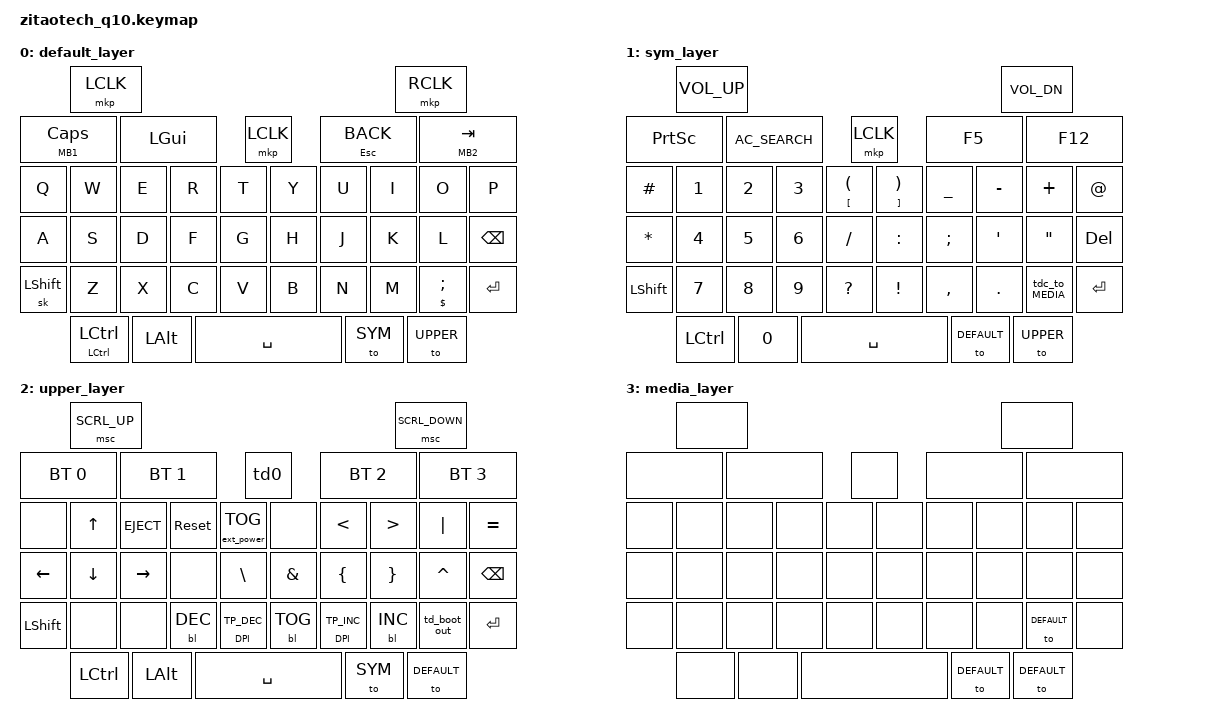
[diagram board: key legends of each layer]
/*
 * Copyright (c) 2023 ZitaoTech
 *
 * SPDX-License-Identifier: MIT
 */
   
#include <behaviors.dtsi>
#include <dt-bindings/zmk/keys.h>
#include <dt-bindings/zmk/bt.h>
#include <dt-bindings/zmk/outputs.h>
#include <dt-bindings/zmk/mouse.h>
#include <dt-bindings/zmk/backlight.h>
#include <dt-bindings/zmk/ext_power.h>
#include <dt-bindings/zmk/rgb.h>
#include <behaviors/trackpad_dpi.dtsi>


#include <zephyr/dt-bindings/input/input-event-codes.h>
#include <dt-bindings/zmk/keys.h>

#define DEFAULT 0
#define SYM 1
#define UPPER 2
#define MEDIA 3

#define TP_INC 0
#define TP_DEC 1

#define SL_TO(layer) &sl_to layer layer //tap -> sticky layer, double tap -> to layer

&sl {
    release-after-ms = <3000>;
    };


/ {
    behaviors {
        td0: tap_dance_0 {
            compatible = "zmk,behavior-tap-dance";
            #binding-cells = <0>;
            tapping-term-ms = <400>;
            bindings = <&mkp LCLK>, <&bt BT_CLR>;
        };
    };
    behaviors {
        td_boot_out: td_boot_out {
            compatible = "zmk,behavior-tap-dance";
            #binding-cells = <0>;
            tapping-term-ms = <400>;           
            bindings = <&bootloader>, <&out OUT_TOG>;
        };
    };
    behaviors {
        tdc_to_SYM: td_comma_to_layer {
            compatible = "zmk,behavior-tap-dance";
            #binding-cells = <0>;
            tapping-term-ms = <400>;
            bindings = <&mt DLLR SEMI>, <&to SYM>;
        };
    };
    behaviors {
        tdc_to_MEDIA: td_mute_to_layer {
            compatible = "zmk,behavior-tap-dance";
            #binding-cells = <0>;
            tapping-term-ms = <400>;
            bindings = <&kp C_MUTE>, <&to MEDIA>;
        };
    };
    behaviors {
        td1: tap_stickylayer_doubletap_tolayer_1 {
            compatible = "zmk,behavior-tap-dance";
            #binding-cells = <0>;
            tapping-term-ms = <400>;
            bindings = <&sl 1>, <&to 1>;
        };
    };
    behaviors {
        td2: tap_stickylayer_doubletap_tolayer_2 {
            compatible = "zmk,behavior-tap-dance";
            #binding-cells = <0>;
            tapping-term-ms = <400>;
            bindings = <&sl 2>, <&to 2>;
        };
    };

    behaviors {
         M_kp: behavior_mouse_keypress {
           compatible = "zmk,behavior-hold-tap";
           #binding-cells = <2>;
           flavor = "tap-preferred";     /* 单击优先 */
           tapping-term-ms = <500>;       /* 长按阈值 */
           bindings = <&mkp &kp>;        /* hold=mou key press, tap=key*/
        };
    };

    behaviors {
    sk_kp: behavior_sk_kp {
        compatible = "zmk,behavior-hold-tap";
        #binding-cells = <2>;
        flavor = "hold-preferred";      
        tapping-term-ms = <400>;       
        bindings = <&kp &sk>;          /* hold=kp, tap=sticky key */
        };
    };
    behaviors {
        hm: homerow_mods {
            compatible = "zmk,behavior-hold-tap";
            #binding-cells = <2>;
            tapping-term-ms = <500>;
            bindings = <&out &kp>;
        };
    };

    behaviors {
        bhm: balanced_homerow_mods {
            compatible = "zmk,behavior-hold-tap";
            #binding-cells = <2>;
            flavor = "balanced";
            tapping-term-ms = <400>;
            bindings = <&kp>, <&kp>;
        };
    };
    
    keymap {
        compatible = "zmk,keymap";

        default_layer {

            bindings = <
//         --------------------------------------------------------------------------------------------------------------------------         
//         |    Shoulder Key1    |                                                                             |    Shoulder Key2    |     
// |         Call key      |      Blackberry Key        |    Trackpad    |             Back Key                |             Endcall Key          |
// |     Q      |     W    |     E    |     R    |      T      |       Y        |       U        |        I        |       O      |      P        |     
// |     A      |     S    |     D    |     F    |      G      |       H        |       J        |        K        |       L      |      ←        |  
// |     alt    |     Z    |     X    |     C    |      V      |       B        |       N        |        M        |       $      |    Enter      |   
//        |         aA     |         0           |           SPACE              |         SYM         |        aA          |       
//        -----------------------------------------------------------------------------------------------------------------

                 &mkp LCLK                                                                                          &mkp RCLK
    &M_kp MB1 CLCK                &kp LGUI                            &mkp LCLK                          &mt ESC K_BACK                    &M_kp MB2 TAB
    &kp Q              &kp W      &kp E       &kp R     &kp T         &kp Y             &kp U            &kp I            &kp O            &kp P
    &kp A              &kp S      &kp D       &kp F     &kp G         &kp H             &kp J            &kp K            &kp L            &kp BSPC
    &sk LSHFT          &kp Z      &kp X       &kp C     &kp V         &kp B             &kp N            &kp M            &mt DLLR SEMI    &kp ENTER
    &sk_kp LCTRL  LCTRL     &kp LALT                                  &kp SPACE                          &to SYM                           &to UPPER 
            >;
        };

        sym_layer {

            bindings = <        
                 &kp C_VOL_UP                                                                                       &kp C_VOL_DN
    &kp PSCRN               &kp C_AC_SEARCH                     &mkp LCLK                          &kp F5                            &kp F12 
    &kp HASH     &kp N1     &kp N2      &kp N3    &mt LBKT LPAR &mt RBKT RPAR     &kp UNDER        &kp MINUS        &kp PLUS         &kp AT
    &kp STAR     &kp N4     &kp N5      &kp N6    &kp SLASH     &kp COLON         &kp SEMI         &kp APOS         &kp DQT          &kp DEL
    &kp LSHFT    &kp N7     &kp N8      &kp N9    &kp QMARK     &kp EXCL          &kp COMMA        &kp DOT          &tdc_to_MEDIA    &kp ENTER
    &kp LCTRL               &kp N0                              &kp SPACE                          &to DEFAULT                       &to UPPER
            >;
        };

        upper_layer {

            bindings = <
                 &msc SCRL_UP                                                                                       &msc SCRL_DOWN
    &bt BT_SEL 0            &bt BT_SEL 1                             &td0                           &bt BT_SEL 2                     &bt BT_SEL 3
    &none        &kp UP     &kp C_EJECT &sys_reset      &ext_power EP_TOG   &none            &kp LT           &kp GT           &kp PIPE         &kp EQUAL
    &kp LEFT     &kp DOWN   &kp RIGHT   &none           &kp BSLH            &kp AMPS         &kp LBRC         &kp RBRC         &kp CARET        &kp BSPC
    &kp LSHFT    &none      &none       &bl BL_DEC      &DPI TP_DEC         &bl BL_TOG       &DPI TP_INC      &bl BL_INC       &td_boot_out     &kp ENTER
    &kp LCTRL               &kp LALT                                        &kp  SPACE                        &to SYM                           &to DEFAULT
            >;
        };

        media_layer {

            bindings = <
                 &none                                                                                        &none
    &none                  &none                               &none                         &none                            &none
    &none        &none     &none       &none      &none        &none         &none           &none           &none            &none
    &none        &none     &none       &none      &none        &none         &none           &none           &none            &none
    &none        &none     &none       &none      &none        &none         &none           &none           &to DEFAULT      &none
    &none                  &none                               &none                         &to DEFAULT                      &to DEFAULT
            >;
        };
    };
};
